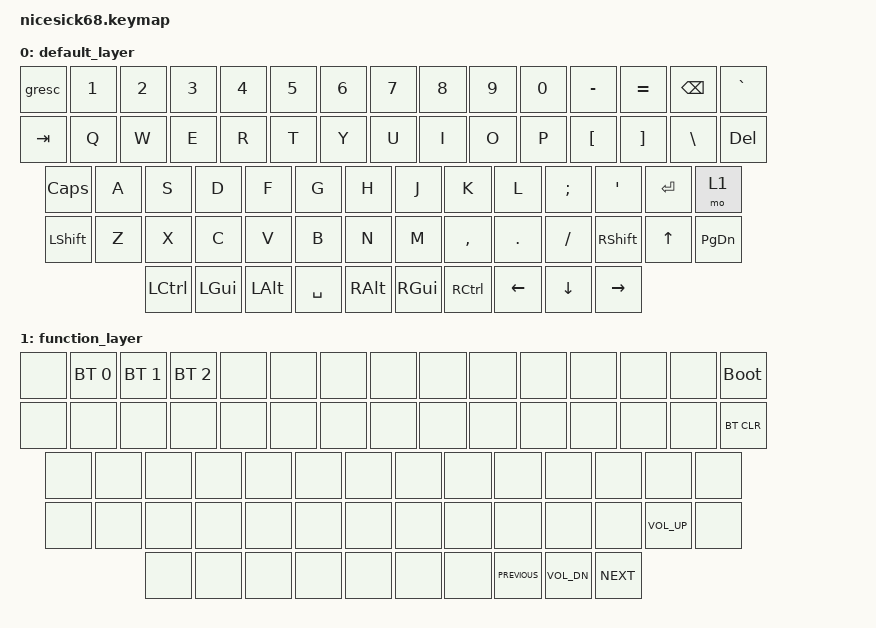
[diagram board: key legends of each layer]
/**
 * This file contains the keymap configuration for the NiceSick68 keyboard.
 * It defines the key bindings for the default layer and the function layer.
 * The key bindings are specified using the ZMK keycodes.
 */


#include <behaviors.dtsi>
#include <dt-bindings/zmk/keys.h>
#include <dt-bindings/zmk/bt.h>

/ {
	keymap {
		compatible = "zmk,keymap";
		
		default_layer {

// ------------------------------------------------------------------------------------------
// | ESC |  1  |  2  |  3  |  4  |  5  |  6  |  7  |  8  |  9  |  0  |  -  |  =  |     BKSP    |   `   |
// | TAB  |  Q  |  W  |  E  |  R  |  T  |  Y  |  U  |  I  |  O  |  P  |  [  |  ]  |    "|"     |  DEL  |
// | CAPS  |  A  |  S  |  D  |  F  |  G  |  H  |  J  |  K  |  L  |  ;  |  '  |      ENTER      | PgUp  |
// |  SHIFT  |  Z  |  X  |  C  |  V  |  B  |  N  |  M  |  ,  |  .  |  /  |     Fn MO(1)     | UpAr  | PgDwn |
// |  CTL  |  WIN  |  ALT  |            SPACE              | ALT | WIN | MO(1) | LftAr |  DwnAr| RgtAr |
// ------------------------------------------------------------------------------------------
			bindings = <
	&gresc  &kp N1 &kp N2 &kp N3 &kp N4 &kp N5 &kp N6 &kp N7 &kp N8 &kp N9 &kp N0 &kp MINUS &kp EQUAL  &kp BSPC &kp GRAVE
	&kp TAB  &kp Q  &kp W  &kp E  &kp R  &kp T  &kp Y  &kp U  &kp I  &kp O  &kp P  &kp LBKT  &kp RBKT  &kp BSLH &kp DEL
	&kp CLCK  &kp A  &kp S  &kp D  &kp F  &kp G  &kp H  &kp J  &kp K  &kp L  &kp SEMI &kp SQT           &kp RET &mo 1
	&kp LSHFT   &kp Z  &kp X  &kp C  &kp V  &kp B  &kp N  &kp M  &kp COMMA &kp DOT &kp FSLH           &kp RSHFT &kp UP &kp PG_DN  
	&kp LCTRL &kp LGUI &kp LALT             &kp SPACE                     &kp RALT  &kp RGUI  &kp RCTRL &kp LEFT &kp DOWN &kp RIGHT 
			>;
		};

	/**
	* The function layer can be invoked by holding the right control key down.
	* Combine the right control key with other keys to execute commands.
	* You can launch the bootloader to flash new firmware, 
	* as well as assign, delete, and switch Bluetooth profiles.
	*
	* The following functions are currently available: 
	*	- Function + (right)CTRL  =  switch to Bluetooth profile 3
	*	- Function + (right)OS  =  switch to Bluetooth profile 2
	*	- Function + (right)ALT  =  switch to Bluetooth profile 1
	*
	* After switching to a Bluetooth slot, press Function + Delete to clear its profile. 
	* Be sure to also delete the profile from the Bluetooth settings of your device.
	*/

	function_layer {
	// ------------------------------------------------------------------------------------------
	// | ESC |  bt1  |  bt2  |  bt3  |  4  |  5  |  6  |  7  |  8  |  9  |  0  |  -  |  =  |     BKSP    |   `   |
	// | TAB  |  Q  |  W  |  E  |  R  |  T  |  Y  |  U  |  I  |  O  |  P  |  [  |  ]  |    "|"     |  DEL  |
	// | CAPS  |  A  |  S  |  D  |  F  |  G  |  H  |  J  |  K  |  L  |  ;  |  '  |      ENTER      | PgUp  |
	// |  SHIFT  |  Z  |  X  |  C  |  V  |  B  |  N  |  M  |  ,  |  .  |  /  |     Fn (MO(1))     | Vol up  | PgDwn |
	// |  CTL  |  WIN  |  ALT  |            SPACE              | ALT | WIN | CTL | Previous Track |  Vol down| Next Track |
	// ------------------------------------------------------------------------------------------
			
			bindings = <
	&none  &bt BT_SEL 0  &bt BT_SEL 1  &bt BT_SEL 2 &none &none &none &none &none &none &none &none &none  &none &bootloader
	&none  &none  &none &none  &none  &none  &none  &none  &none  &none  &none  &none  &none  &none 			 &bt BT_CLR
	&none  &none  &none  &none  &none  &none  &none  &none  &none  &none  &none &none           &none 			 &none
	&none   &none  &none  &none  &none  &none  &none  &none  &none &none &none   &none               &kp C_VOL_UP  		 &none
	&none &none &none             &none                     &none &none &none         &kp C_PREVIOUS &kp C_VOL_DN &kp C_NEXT
			>;
		};
	};
};
